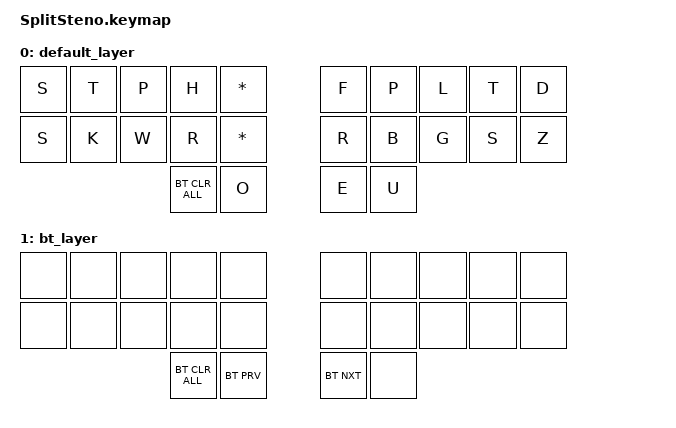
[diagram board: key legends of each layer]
#include <behaviors.dtsi>
#include <dt-bindings/zmk/keys.h>
#include <dt-bindings/zmk/bt.h>

/ {
    combos {
        compatible = "zmk,combos";
        combo_bt_layer {
            timeout-ms = <50>;
            key-positions = <0 1 2 3 4>; 
            bindings = <&mo 1>;
        };
    };

    keymap {
        compatible = "zmk,keymap";

        default_layer { // Layer 0
            bindings = <
                &kp S    &kp T    &kp P    &kp H    &kp ASTERISK    &kp F    &kp P    &kp L    &kp T    &kp D
                &kp S    &kp K    &kp W    &kp R    &kp ASTERISK    &kp R    &kp B    &kp G    &kp S    &kp Z
                                           &bt BT_CLR_ALL    &kp O    &kp E    &kp U
            >;
        };

        bt_layer { // Layer 1
            bindings = <
                &none    &none    &none    &none    &none           &none    &none    &none    &none    &none
                &none    &none    &none    &none    &none           &none    &none    &none    &none    &none
                                           &bt BT_CLR_ALL    &bt BT_PRV    &bt BT_NXT    &none
            >;
        };
    };
};
